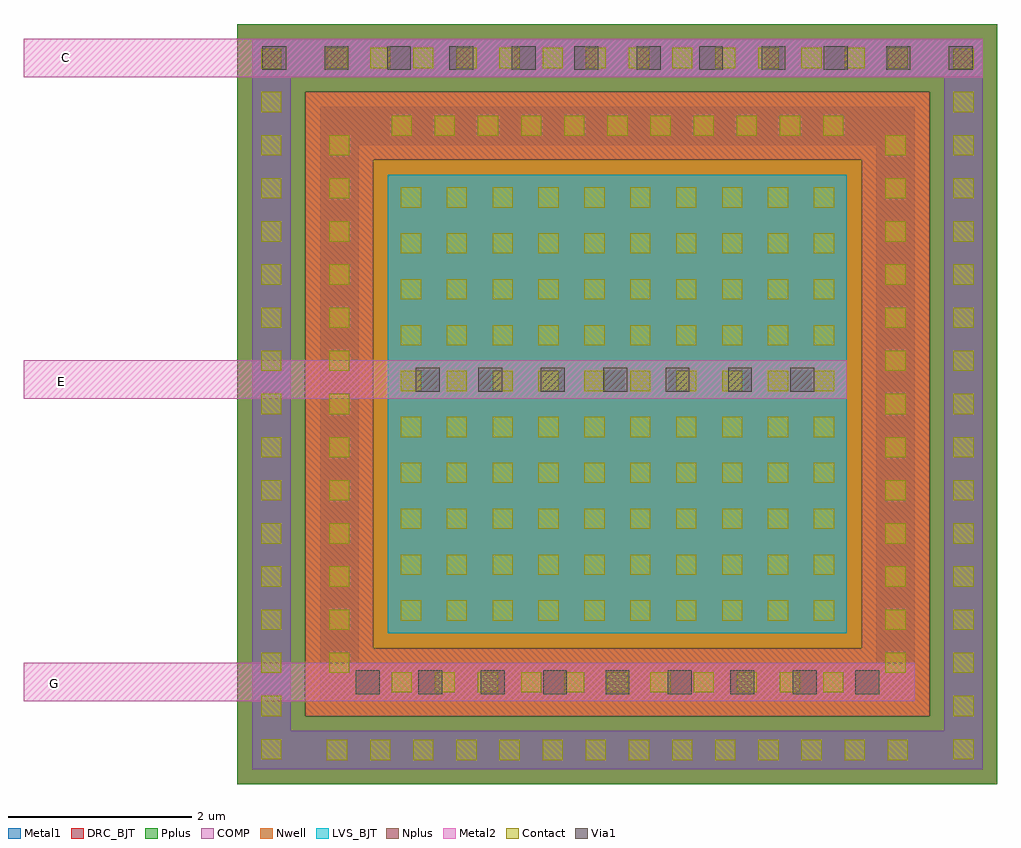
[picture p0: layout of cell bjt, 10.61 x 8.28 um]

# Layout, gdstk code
import gdstk
lib = gdstk.Library(unit=1e-6, precision=5e-09)
def R(c, l, rs):  # rectangles x0, y0, x1, y1
    for r in rs: c.add(gdstk.rectangle(r[:2], r[2:], *l))
def A(c, l, x, y, w, h, nx, ny, dx, dy):  # array of equal rectangles
    R(c, l, [(x+i*dx, y+j*dy, x+i*dx+w, y+j*dy+h) for i in range(nx) for j in range(ny)])
def P(c, l, *ps):  # polygons
    for p in ps: c.add(gdstk.Polygon(p, *l))
Nwell = (21, 0)
COMP = (22, 0)
Pplus = (31, 0)
Nplus = (32, 0)
Contact = (33, 0)
Metal1 = (34, 0)
Via1 = (35, 0)
Metal2 = (36, 0)
LVS_BJT = (118, 5)
DRC_BJT = (127, 5)

pnp_05p00x05p00_0 = lib.new_cell('pnp_05p00x05p00_0')
R(pnp_05p00x05p00_0, Nwell, [(-3.4,-3.4,3.4,3.4)])
R(pnp_05p00x05p00_0, COMP, [(-2.5,-2.5,2.5,2.5)])
P(pnp_05p00x05p00_0, COMP, [(-3.24,-3.24),(-3.24,3.24),(2.82,3.24),(2.82,2.82),(-2.82,2.82),(-2.82,-2.82),(2.82,-2.82),(2.82,3.24),(3.24,3.24),(3.24,-3.24)],
  [(-3.98,-3.98),(-3.98,3.98),(3.56,3.98),(3.56,3.56),(-3.56,3.56),(-3.56,-3.56),(3.56,-3.56),(3.56,3.98),(3.98,3.98),(3.98,-3.98)])
R(pnp_05p00x05p00_0, Pplus, [(-2.66,-2.66,2.66,2.66)])
P(pnp_05p00x05p00_0, Pplus, [(-4.14,-4.14),(-4.14,4.14),(3.4,4.14),(3.4,3.4),(-3.4,3.4),(-3.4,-3.4),(3.4,-3.4),(3.4,4.14),(4.14,4.14),(4.14,-4.14)])
P(pnp_05p00x05p00_0, Nplus, [(-3.4,-3.4),(-3.4,3.4),(2.66,3.4),(2.66,2.66),(-2.66,2.66),(-2.66,-2.66),(2.66,-2.66),(2.66,3.4),(3.4,3.4),(3.4,-3.4)])
A(pnp_05p00x05p00_0, Contact, -3.165, -3.88, 0.22, 0.22, 14, 2, 0.47, 7.54)
A(pnp_05p00x05p00_0, Contact, -3.88, -3.87, 0.22, 0.22, 1, 17, 0, 0.47)
A(pnp_05p00x05p00_0, Contact, 3.66, -3.87, 0.22, 0.22, 1, 17, 0, 0.47)
A(pnp_05p00x05p00_0, Contact, -2.46, -3.14, 0.22, 0.22, 11, 2, 0.47, 6.06)
A(pnp_05p00x05p00_0, Contact, -3.14, -2.93, 0.22, 0.22, 1, 13, 0, 0.47)
A(pnp_05p00x05p00_0, Contact, 2.92, -2.93, 0.22, 0.22, 1, 13, 0, 0.47)
A(pnp_05p00x05p00_0, Contact, -2.36, -2.36, 0.22, 0.22, 10, 10, 0.5, 0.5)
R(pnp_05p00x05p00_0, Metal1, [(-3.98,-3.98,3.98,-3.56), (-3.98,-3.98,-3.56,3.98), (3.56,-3.98,3.98,3.98), (-3.24,-3.24,3.24,-2.82), (-3.24,-3.24,-2.82,3.24), (2.82,-3.24,3.24,3.24), (-2.5,-2.5,2.5,2.5), (-2.5,-2.5,2.5,2.5), (-3.24,2.82,3.24,3.24), (-3.98,3.56,3.98,3.98)])
P(pnp_05p00x05p00_0, Metal1, [(-3.24,-3.24),(-3.24,3.24),(2.82,3.24),(2.82,2.82),(-2.82,2.82),(-2.82,-2.82),(2.82,-2.82),(2.82,3.24),(3.24,3.24),(3.24,-3.24)],
  [(-3.98,-3.98),(-3.98,3.98),(3.56,3.98),(3.56,3.56),(-3.56,3.56),(-3.56,-3.56),(3.56,-3.56),(3.56,3.98),(3.98,3.98),(3.98,-3.98)])
R(pnp_05p00x05p00_0, LVS_BJT, [(-2.5,-2.5,2.5,2.5)])
R(pnp_05p00x05p00_0, DRC_BJT, [(-4.14,-4.14,4.14,4.14)])
pnp_05p00x05p00_0.add(gdstk.Label('E', (0.015,-0.04), layer=34, texttype=0))
pnp_05p00x05p00_0.add(gdstk.Label('B', (-0.015,3.015), layer=34, texttype=0))
pnp_05p00x05p00_0.add(gdstk.Label('B', (3.035,-0.01), layer=34, texttype=0))
pnp_05p00x05p00_0.add(gdstk.Label('B', (-0.015,-3), layer=34, texttype=0))
pnp_05p00x05p00_0.add(gdstk.Label('B', (-2.99,-0.01), layer=34, texttype=0))
pnp_05p00x05p00_0.add(gdstk.Label('C', (0.015,-3.76), layer=34, texttype=0))
pnp_05p00x05p00_0.add(gdstk.Label('C', (3.785,0.01), layer=34, texttype=0))
pnp_05p00x05p00_0.add(gdstk.Label('C', (-0.015,3.76), layer=34, texttype=0))
pnp_05p00x05p00_0.add(gdstk.Label('C', (-3.755,-0.01), layer=34, texttype=0))

pnp_05p00x05p00 = lib.new_cell('pnp_05p00x05p00')
pnp_05p00x05p00.add(gdstk.Reference(pnp_05p00x05p00_0, (4.2,4.2)))
pnp_05p00x05p00.add(gdstk.Label('I1_default_E', (1.725,1.725), layer=34, texttype=10))
pnp_05p00x05p00.add(gdstk.Label('I1_default_C', (0.245,0.245), layer=34, texttype=10))
pnp_05p00x05p00.add(gdstk.Label('I1_default_C', (0.245,7.785), layer=34, texttype=10))
pnp_05p00x05p00.add(gdstk.Label('I1_default_C', (7.785,0.245), layer=34, texttype=10))
pnp_05p00x05p00.add(gdstk.Label('I1_default_C', (0.245,0.245), layer=34, texttype=10))
pnp_05p00x05p00.add(gdstk.Label('I1_default_B', (0.985,0.985), layer=34, texttype=10))
pnp_05p00x05p00.add(gdstk.Label('I1_default_B', (0.985,0.985), layer=34, texttype=10))
pnp_05p00x05p00.add(gdstk.Label('I1_default_B', (7.045,0.985), layer=34, texttype=10))
pnp_05p00x05p00.add(gdstk.Label('I1_default_B', (0.985,7.045), layer=34, texttype=10))

pnp_bjt_1 = lib.new_cell('pnp_bjt$1')
pnp_bjt_1.add(gdstk.Reference(pnp_05p00x05p00, (0,0)))

via_dev = lib.new_cell('via_dev')
R(via_dev, Metal1, [(0,0,0.4,0.4)])
R(via_dev, Via1, [(0.07,0.07,0.33,0.33)])
R(via_dev, Metal2, [(0,0,0.4,0.4)])

bjt = lib.new_cell('bjt')
R(bjt, Metal2, [(-3.49,0.58,6.22,1), (-3.49,3.875,5.48,4.295), (-3.49,7.38,6.96,7.8)])
bjt.add(gdstk.Reference(pnp_bjt_1, (-1.22,-0.38)))
r = gdstk.Reference(via_dev, (0.715,3.885)); r.repetition = gdstk.Repetition(7, 1, v1=(0.68,0), v2=(0,0)); bjt.add(r)
r = gdstk.Reference(via_dev, (-0.96,7.39)); r.repetition = gdstk.Repetition(12, 1, v1=(0.68,0), v2=(0,0)); bjt.add(r)
r = gdstk.Reference(via_dev, (0.06,0.59)); r.repetition = gdstk.Repetition(9, 1, v1=(0.68,0), v2=(0,0)); bjt.add(r)
bjt.add(gdstk.Label('G', (-3.155,0.78), layer=36, texttype=10))
bjt.add(gdstk.Label('E', (-3.075,4.07), layer=36, texttype=10))
bjt.add(gdstk.Label('C', (-3.03,7.6), layer=36, texttype=10))

lib.write_gds('bjt.gds')
